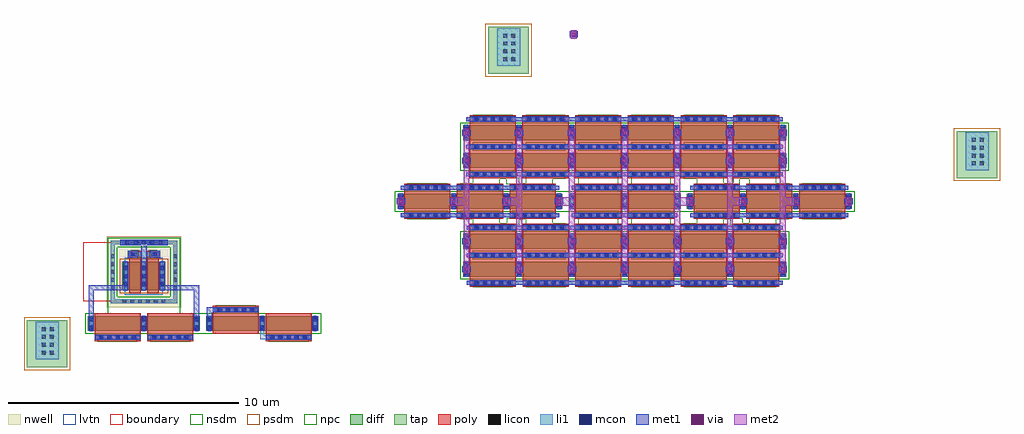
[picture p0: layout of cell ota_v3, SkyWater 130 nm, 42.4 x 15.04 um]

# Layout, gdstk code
import gdstk
lib = gdstk.Library(unit=1e-6, precision=1e-09)
def R(c, l, rs):  # rectangles x0, y0, x1, y1
    for r in rs: c.add(gdstk.rectangle(r[:2], r[2:], *l))
def A(c, l, x, y, w, h, nx, ny, dx, dy):  # array of equal rectangles
    R(c, l, [(x+i*dx, y+j*dy, x+i*dx+w, y+j*dy+h) for i in range(nx) for j in range(ny)])
nwell = (64, 20)
diff = (65, 20)
tap = (65, 44)
poly = (66, 20)
licon = (66, 44)
li1 = (67, 20)
mcon = (67, 44)
met1 = (68, 20)
via = (68, 44)
met2 = (69, 20)
nsdm = (93, 44)
psdm = (94, 20)
npc = (95, 20)
lvtn = (125, 44)
boundary = (235, 4)

sky130_fd_pr__nfet_01v8_ = lib.new_cell('sky130_fd_pr__nfet_01v8_6S36KN')
R(sky130_fd_pr__nfet_01v8_, diff, [(-3.58,-0.325,3.58,0.325)])
A(sky130_fd_pr__nfet_01v8_, poly, -3.29, -0.765, 2, 1.53, 3, 1, 2.29, 0)
A(sky130_fd_pr__nfet_01v8_, licon, -3.055, -0.685, 0.17, 0.17, 5, 2, 0.34, 1.2)
A(sky130_fd_pr__nfet_01v8_, licon, -0.765, -0.685, 0.17, 0.17, 5, 2, 0.34, 1.2)
A(sky130_fd_pr__nfet_01v8_, licon, 1.525, -0.685, 0.17, 0.17, 5, 2, 0.34, 1.2)
A(sky130_fd_pr__nfet_01v8_, licon, -3.52, -0.255, 0.17, 0.17, 4, 2, 2.29, 0.34)
A(sky130_fd_pr__nfet_01v8_, li1, -3.52, -0.345, 0.17, 0.69, 4, 1, 2.29, 0)
R(sky130_fd_pr__nfet_01v8_, li1, [(-3.435,-0.685,3.435,-0.515), (-3.435,0.515,3.435,0.685)])
A(sky130_fd_pr__nfet_01v8_, mcon, -3.095, -0.685, 0.17, 0.17, 5, 2, 0.36, 1.2)
A(sky130_fd_pr__nfet_01v8_, mcon, -0.805, -0.685, 0.17, 0.17, 5, 2, 0.36, 1.2)
A(sky130_fd_pr__nfet_01v8_, mcon, 1.485, -0.685, 0.17, 0.17, 5, 2, 0.36, 1.2)
A(sky130_fd_pr__nfet_01v8_, mcon, -3.52, -0.265, 0.17, 0.17, 4, 2, 2.29, 0.36)
A(sky130_fd_pr__nfet_01v8_, met1, -3.27, -0.715, 1.96, 0.03, 3, 2, 2.29, 0.2)
A(sky130_fd_pr__nfet_01v8_, met1, -3.55, -0.325, 0.23, 0.65, 4, 1, 2.29, 0)
A(sky130_fd_pr__nfet_01v8_, met1, -3.27, 0.485, 1.96, 0.03, 3, 2, 2.29, 0.2)
R(sky130_fd_pr__nfet_01v8_, met1, [(-3.435,-0.685,3.435,-0.515), (-3.435,0.515,3.435,0.685)])
R(sky130_fd_pr__nfet_01v8_, nsdm, [(-3.705,-0.45,3.705,0.45)])
A(sky130_fd_pr__nfet_01v8_, npc, -3.155, -0.785, 1.73, 0.37, 3, 2, 2.29, 1.2)
sky130_fd_pr__nfet_01v8_.add(gdstk.Label('G', (2.29,0.6), layer=67, texttype=5))
sky130_fd_pr__nfet_01v8_.add(gdstk.Label('G', (0,0.6), layer=67, texttype=5))
sky130_fd_pr__nfet_01v8_.add(gdstk.Label('G', (-2.29,0.6), layer=67, texttype=5))
sky130_fd_pr__nfet_01v8_.add(gdstk.Label('D0', (-3.435,0), layer=67, texttype=5))
sky130_fd_pr__nfet_01v8_.add(gdstk.Label('S1', (-1.145,0), layer=67, texttype=5))
sky130_fd_pr__nfet_01v8_.add(gdstk.Label('D2', (1.145,0), layer=67, texttype=5))
sky130_fd_pr__nfet_01v8_.add(gdstk.Label('S2', (3.435,0), layer=67, texttype=5))

c_sky130_fd_pr__nfet_01v8_ = lib.new_cell('sky130_fd_pr__nfet_01v8_LPGTGV')
R(c_sky130_fd_pr__nfet_01v8_, diff, [(-7.015,-0.925,7.015,-0.275), (-7.015,0.275,7.015,0.925)])
A(c_sky130_fd_pr__nfet_01v8_, poly, -6.725, -1.365, 2, 2.73, 6, 1, 2.29, 0)
A(c_sky130_fd_pr__nfet_01v8_, licon, -6.49, -1.285, 0.17, 0.17, 5, 3, 0.34, 1.2)
A(c_sky130_fd_pr__nfet_01v8_, licon, -4.2, -1.285, 0.17, 0.17, 5, 3, 0.34, 1.2)
A(c_sky130_fd_pr__nfet_01v8_, licon, -1.91, -1.285, 0.17, 0.17, 5, 3, 0.34, 1.2)
A(c_sky130_fd_pr__nfet_01v8_, licon, 0.38, -1.285, 0.17, 0.17, 5, 3, 0.34, 1.2)
A(c_sky130_fd_pr__nfet_01v8_, licon, 2.67, -1.285, 0.17, 0.17, 5, 3, 0.34, 1.2)
A(c_sky130_fd_pr__nfet_01v8_, licon, 4.96, -1.285, 0.17, 0.17, 5, 3, 0.34, 1.2)
A(c_sky130_fd_pr__nfet_01v8_, licon, -6.955, -0.855, 0.17, 0.17, 7, 2, 2.29, 0.34)
A(c_sky130_fd_pr__nfet_01v8_, licon, -6.955, 0.345, 0.17, 0.17, 7, 2, 2.29, 0.34)
A(c_sky130_fd_pr__nfet_01v8_, li1, -6.87, -1.285, 13.74, 0.17, 1, 3, 0, 1.2)
A(c_sky130_fd_pr__nfet_01v8_, li1, -6.955, -0.945, 0.17, 0.69, 7, 2, 2.29, 1.2)
A(c_sky130_fd_pr__nfet_01v8_, mcon, -6.53, -1.285, 0.17, 0.17, 5, 3, 0.36, 1.2)
A(c_sky130_fd_pr__nfet_01v8_, mcon, -4.24, -1.285, 0.17, 0.17, 5, 3, 0.36, 1.2)
A(c_sky130_fd_pr__nfet_01v8_, mcon, -1.95, -1.285, 0.17, 0.17, 5, 3, 0.36, 1.2)
A(c_sky130_fd_pr__nfet_01v8_, mcon, 0.34, -1.285, 0.17, 0.17, 5, 3, 0.36, 1.2)
A(c_sky130_fd_pr__nfet_01v8_, mcon, 2.63, -1.285, 0.17, 0.17, 5, 3, 0.36, 1.2)
A(c_sky130_fd_pr__nfet_01v8_, mcon, 4.92, -1.285, 0.17, 0.17, 5, 3, 0.36, 1.2)
A(c_sky130_fd_pr__nfet_01v8_, mcon, -6.955, -0.865, 0.17, 0.17, 7, 2, 2.29, 0.36)
A(c_sky130_fd_pr__nfet_01v8_, mcon, -6.955, 0.335, 0.17, 0.17, 7, 2, 2.29, 0.36)
A(c_sky130_fd_pr__nfet_01v8_, met1, -6.705, -1.315, 1.96, 0.03, 6, 2, 2.29, 0.2)
A(c_sky130_fd_pr__nfet_01v8_, met1, -6.87, -1.285, 13.74, 0.17, 1, 3, 0, 1.2)
A(c_sky130_fd_pr__nfet_01v8_, met1, -6.985, -0.925, 0.23, 0.65, 7, 2, 2.29, 1.2)
A(c_sky130_fd_pr__nfet_01v8_, met1, -6.705, -0.115, 1.96, 0.03, 6, 2, 2.29, 0.2)
A(c_sky130_fd_pr__nfet_01v8_, met1, -6.705, 1.085, 1.96, 0.03, 6, 2, 2.29, 0.2)
R(c_sky130_fd_pr__nfet_01v8_, nsdm, [(-7.14,-1.05,7.14,1.05)])
A(c_sky130_fd_pr__nfet_01v8_, npc, -6.59, -1.385, 1.73, 0.37, 6, 3, 2.29, 1.2)
c_sky130_fd_pr__nfet_01v8_.add(gdstk.Label('G', (5.725,0), layer=67, texttype=5))
c_sky130_fd_pr__nfet_01v8_.add(gdstk.Label('G', (3.435,0), layer=67, texttype=5))
c_sky130_fd_pr__nfet_01v8_.add(gdstk.Label('G', (1.145,0), layer=67, texttype=5))
c_sky130_fd_pr__nfet_01v8_.add(gdstk.Label('G', (-1.145,0), layer=67, texttype=5))
c_sky130_fd_pr__nfet_01v8_.add(gdstk.Label('G', (-3.435,0), layer=67, texttype=5))
c_sky130_fd_pr__nfet_01v8_.add(gdstk.Label('G', (-5.725,0), layer=67, texttype=5))
c_sky130_fd_pr__nfet_01v8_.add(gdstk.Label('D0_0', (-6.87,-0.6), layer=67, texttype=5))
c_sky130_fd_pr__nfet_01v8_.add(gdstk.Label('D0_1', (-6.87,0.6), layer=67, texttype=5))
c_sky130_fd_pr__nfet_01v8_.add(gdstk.Label('S1_0', (-4.58,-0.6), layer=67, texttype=5))
c_sky130_fd_pr__nfet_01v8_.add(gdstk.Label('S1_1', (-4.58,0.6), layer=67, texttype=5))
c_sky130_fd_pr__nfet_01v8_.add(gdstk.Label('D2_0', (-2.29,-0.6), layer=67, texttype=5))
c_sky130_fd_pr__nfet_01v8_.add(gdstk.Label('D2_1', (-2.29,0.6), layer=67, texttype=5))
c_sky130_fd_pr__nfet_01v8_.add(gdstk.Label('S3_0', (0,-0.6), layer=67, texttype=5))
c_sky130_fd_pr__nfet_01v8_.add(gdstk.Label('S3_1', (0,0.6), layer=67, texttype=5))
c_sky130_fd_pr__nfet_01v8_.add(gdstk.Label('D4_0', (2.29,-0.6), layer=67, texttype=5))
c_sky130_fd_pr__nfet_01v8_.add(gdstk.Label('D4_1', (2.29,0.6), layer=67, texttype=5))
c_sky130_fd_pr__nfet_01v8_.add(gdstk.Label('S5_0', (4.58,-0.6), layer=67, texttype=5))
c_sky130_fd_pr__nfet_01v8_.add(gdstk.Label('S5_1', (4.58,0.6), layer=67, texttype=5))

c_sky130_fd_pr__nfet_01v8__ = lib.new_cell('sky130_fd_pr__nfet_01v8_HBWYJE')
R(c_sky130_fd_pr__nfet_01v8__, diff, [(-2.435,-0.325,2.435,0.325)])
R(c_sky130_fd_pr__nfet_01v8__, poly, [(-2.145,-0.765,-0.145,0.765), (0.145,-0.765,2.145,0.765)])
A(c_sky130_fd_pr__nfet_01v8__, licon, -1.91, -0.685, 0.17, 0.17, 5, 2, 0.34, 1.2)
A(c_sky130_fd_pr__nfet_01v8__, licon, 0.38, -0.685, 0.17, 0.17, 5, 2, 0.34, 1.2)
A(c_sky130_fd_pr__nfet_01v8__, licon, -2.375, -0.255, 0.17, 0.17, 3, 2, 2.29, 0.34)
A(c_sky130_fd_pr__nfet_01v8__, li1, -2.375, -0.345, 0.17, 0.69, 3, 1, 2.29, 0)
R(c_sky130_fd_pr__nfet_01v8__, li1, [(-2.29,-0.685,2.29,-0.515), (-2.29,0.515,2.29,0.685)])
A(c_sky130_fd_pr__nfet_01v8__, mcon, -1.95, -0.685, 0.17, 0.17, 5, 2, 0.36, 1.2)
A(c_sky130_fd_pr__nfet_01v8__, mcon, 0.34, -0.685, 0.17, 0.17, 5, 2, 0.36, 1.2)
A(c_sky130_fd_pr__nfet_01v8__, mcon, -2.375, -0.265, 0.17, 0.17, 3, 2, 2.29, 0.36)
A(c_sky130_fd_pr__nfet_01v8__, met1, -2.405, -0.325, 0.23, 0.65, 3, 1, 2.29, 0)
R(c_sky130_fd_pr__nfet_01v8__, met1, [(-2.125,-0.715,-0.165,-0.685), (0.165,-0.715,2.125,-0.685), (-2.29,-0.685,2.29,-0.515), (-2.125,-0.515,-0.165,-0.485), (0.165,-0.515,2.125,-0.485), (-2.125,0.485,-0.165,0.515), (0.165,0.485,2.125,0.515), (-2.29,0.515,2.29,0.685), (-2.125,0.685,-0.165,0.715), (0.165,0.685,2.125,0.715)])
R(c_sky130_fd_pr__nfet_01v8__, nsdm, [(-2.56,-0.45,2.56,0.45)])
R(c_sky130_fd_pr__nfet_01v8__, npc, [(-2.01,-0.785,-0.28,-0.415), (0.28,-0.785,2.01,-0.415), (-2.01,0.415,-0.28,0.785), (0.28,0.415,2.01,0.785)])
c_sky130_fd_pr__nfet_01v8__.add(gdstk.Label('D0', (-2.29,0), layer=67, texttype=5))
c_sky130_fd_pr__nfet_01v8__.add(gdstk.Label('G', (1.145,0.6), layer=67, texttype=5))
c_sky130_fd_pr__nfet_01v8__.add(gdstk.Label('G', (-1.145,0.6), layer=67, texttype=5))
c_sky130_fd_pr__nfet_01v8__.add(gdstk.Label('S1', (0,0), layer=67, texttype=5))

c_sky130_fd_pr__nfet_01v8___ = lib.new_cell('sky130_fd_pr__nfet_01v8_PJC3NT')
R(c_sky130_fd_pr__nfet_01v8___, diff, [(-2.435,-0.48,2.435,0.17)])
R(c_sky130_fd_pr__nfet_01v8___, poly, [(0.145,-0.92,2.145,0.3), (-2.145,-0.61,-0.145,0.61)])
A(c_sky130_fd_pr__nfet_01v8___, licon, 0.38, -0.84, 0.17, 0.17, 5, 1, 0.34, 0)
A(c_sky130_fd_pr__nfet_01v8___, licon, -2.375, -0.41, 0.17, 0.17, 3, 2, 2.29, 0.34)
A(c_sky130_fd_pr__nfet_01v8___, licon, -1.91, 0.36, 0.17, 0.17, 5, 1, 0.34, 0)
R(c_sky130_fd_pr__nfet_01v8___, li1, [(-0.085,-0.84,2.145,-0.67), (-0.085,-0.67,0.085,0.19), (-2.375,-0.5,-2.205,0.19), (2.205,-0.5,2.375,0.19), (-2.145,0.36,-0.145,0.53)])
A(c_sky130_fd_pr__nfet_01v8___, mcon, 0.34, -0.84, 0.17, 0.17, 5, 1, 0.36, 0)
A(c_sky130_fd_pr__nfet_01v8___, mcon, -2.375, -0.42, 0.17, 0.17, 3, 2, 2.29, 0.36)
A(c_sky130_fd_pr__nfet_01v8___, mcon, -1.95, 0.36, 0.17, 0.17, 5, 1, 0.36, 0)
A(c_sky130_fd_pr__nfet_01v8___, met1, -2.405, -0.48, 0.23, 0.65, 3, 1, 2.29, 0)
R(c_sky130_fd_pr__nfet_01v8___, met1, [(0.165,-0.87,2.125,-0.64), (-2.125,0.33,-0.165,0.56)])
R(c_sky130_fd_pr__nfet_01v8___, nsdm, [(-2.56,-0.605,2.56,0.295)])
R(c_sky130_fd_pr__nfet_01v8___, npc, [(0.28,-0.94,2.01,-0.57), (-2.01,0.26,-0.28,0.63)])
c_sky130_fd_pr__nfet_01v8___.add(gdstk.Label('D0', (-2.29,-0.155), layer=67, texttype=5))
c_sky130_fd_pr__nfet_01v8___.add(gdstk.Label('G0', (-1.145,0.445), layer=67, texttype=5))
c_sky130_fd_pr__nfet_01v8___.add(gdstk.Label('S1', (0,-0.155), layer=67, texttype=5))
c_sky130_fd_pr__nfet_01v8___.add(gdstk.Label('G1', (1.145,-0.755), layer=67, texttype=5))

sky130_fd_pr__pfet_01v8_ = lib.new_cell('sky130_fd_pr__pfet_01v8_lvt_HZYT8B')
R(sky130_fd_pr__pfet_01v8_, nwell, [(-1.625,-1.545,1.625,1.545)])
R(sky130_fd_pr__pfet_01v8_, diff, [(-0.935,-0.805,0.935,0.445)])
R(sky130_fd_pr__pfet_01v8_, tap, [(-1.445,-1.365,1.445,-1.195), (-1.445,-1.195,-1.275,1.195), (1.275,-1.195,1.445,1.195), (-1.445,1.195,1.445,1.365)])
R(sky130_fd_pr__pfet_01v8_, poly, [(-0.645,-0.935,-0.145,0.93), (0.145,-0.935,0.645,0.93)])
A(sky130_fd_pr__pfet_01v8_, licon, -0.935, -1.365, 0.17, 0.17, 6, 2, 0.34, 2.56)
A(sky130_fd_pr__pfet_01v8_, licon, -1.445, -0.765, 0.17, 0.17, 1, 5, 0, 0.34)
A(sky130_fd_pr__pfet_01v8_, licon, 1.275, -0.765, 0.17, 0.17, 1, 5, 0, 0.34)
A(sky130_fd_pr__pfet_01v8_, licon, -0.875, -0.605, 0.17, 0.17, 3, 3, 0.79, 0.34)
R(sky130_fd_pr__pfet_01v8_, licon, [(-0.48,0.68,-0.31,0.85), (0.31,0.68,0.48,0.85)])
A(sky130_fd_pr__pfet_01v8_, li1, -0.875, -0.825, 0.17, 1.29, 3, 1, 0.79, 0)
R(sky130_fd_pr__pfet_01v8_, li1, [(-1.445,-1.365,1.445,-1.195), (-1.445,-1.195,-1.275,1.195), (1.275,-1.195,1.445,1.195), (-0.675,0.68,-0.145,0.85), (0.145,0.68,0.675,0.85), (-1.445,1.195,1.445,1.365)])
A(sky130_fd_pr__pfet_01v8_, mcon, -0.875, -0.625, 0.17, 0.17, 3, 3, 0.79, 0.36)
R(sky130_fd_pr__pfet_01v8_, mcon, [(-0.565,0.68,-0.395,0.85), (0.395,0.68,0.565,0.85)])
A(sky130_fd_pr__pfet_01v8_, met1, -0.905, -0.805, 0.23, 1.25, 3, 1, 0.79, 0)
R(sky130_fd_pr__pfet_01v8_, met1, [(-0.705,0.62,-0.255,0.91), (0.255,0.62,0.705,0.91)])
R(sky130_fd_pr__pfet_01v8_, nsdm, [(-1.57,-1.49,1.57,-1.07), (-1.57,-1.07,-1.15,1.07), (1.15,-1.07,1.57,1.07), (-1.57,1.07,1.57,1.49)])
R(sky130_fd_pr__pfet_01v8_, psdm, [(-1.06,-0.93,1.06,0.57)])
R(sky130_fd_pr__pfet_01v8_, npc, [(-0.58,0.58,-0.21,0.95), (0.21,0.58,0.58,0.95)])
R(sky130_fd_pr__pfet_01v8_, lvtn, [(-0.825,-0.985,0.825,0.625)])
R(sky130_fd_pr__pfet_01v8_, boundary, [(-2.64,-1.28,1.36,1.28)])
sky130_fd_pr__pfet_01v8_.add(gdstk.Label('D1', (0.79,-0.18), layer=68, texttype=5))
sky130_fd_pr__pfet_01v8_.add(gdstk.Label('B', (0,-1.28), layer=67, texttype=5))
sky130_fd_pr__pfet_01v8_.add(gdstk.Label('D0', (-0.79,-0.18), layer=67, texttype=5))
sky130_fd_pr__pfet_01v8_.add(gdstk.Label('G0', (-0.395,0.765), layer=67, texttype=5))
sky130_fd_pr__pfet_01v8_.add(gdstk.Label('S1', (0,-0.18), layer=67, texttype=5))
sky130_fd_pr__pfet_01v8_.add(gdstk.Label('G1', (0.395,0.765), layer=67, texttype=5))

c_sky130_fd_pr__nfet_01v8____ = lib.new_cell('sky130_fd_pr__nfet_01v8_BTD3CR')
R(c_sky130_fd_pr__nfet_01v8____, diff, [(-2.435,-0.17,2.435,0.48)])
R(c_sky130_fd_pr__nfet_01v8____, poly, [(-2.145,-0.61,-0.145,0.61), (0.145,-0.61,2.145,0.61)])
A(c_sky130_fd_pr__nfet_01v8____, licon, -1.91, -0.53, 0.17, 0.17, 5, 1, 0.34, 0)
A(c_sky130_fd_pr__nfet_01v8____, licon, 0.38, -0.53, 0.17, 0.17, 5, 1, 0.34, 0)
A(c_sky130_fd_pr__nfet_01v8____, licon, -2.375, -0.1, 0.17, 0.17, 3, 2, 2.29, 0.34)
A(c_sky130_fd_pr__nfet_01v8____, li1, -2.375, -0.19, 0.17, 0.69, 3, 1, 2.29, 0)
R(c_sky130_fd_pr__nfet_01v8____, li1, [(-2.145,-0.53,-0.145,-0.36), (0.145,-0.53,2.145,-0.36)])
A(c_sky130_fd_pr__nfet_01v8____, mcon, -1.95, -0.53, 0.17, 0.17, 5, 1, 0.36, 0)
A(c_sky130_fd_pr__nfet_01v8____, mcon, 0.34, -0.53, 0.17, 0.17, 5, 1, 0.36, 0)
A(c_sky130_fd_pr__nfet_01v8____, mcon, -2.375, -0.11, 0.17, 0.17, 3, 2, 2.29, 0.36)
A(c_sky130_fd_pr__nfet_01v8____, met1, -2.405, -0.17, 0.23, 0.65, 3, 1, 2.29, 0)
R(c_sky130_fd_pr__nfet_01v8____, met1, [(-2.125,-0.56,-0.165,-0.33), (0.165,-0.56,2.125,-0.33)])
R(c_sky130_fd_pr__nfet_01v8____, nsdm, [(-2.56,-0.295,2.56,0.605)])
R(c_sky130_fd_pr__nfet_01v8____, npc, [(-2.01,-0.63,-0.28,-0.26), (0.28,-0.63,2.01,-0.26)])
c_sky130_fd_pr__nfet_01v8____.add(gdstk.Label('D0', (-2.29,0.155), layer=67, texttype=5))
c_sky130_fd_pr__nfet_01v8____.add(gdstk.Label('G0', (-1.145,-0.445), layer=67, texttype=5))
c_sky130_fd_pr__nfet_01v8____.add(gdstk.Label('S1', (0,0.155), layer=67, texttype=5))
c_sky130_fd_pr__nfet_01v8____.add(gdstk.Label('G1', (1.145,-0.445), layer=67, texttype=5))

ota_v3 = lib.new_cell('ota_v3')
R(ota_v3, tap, [(-19.72,-6.925,-17.965,-4.885), (20.675,1.295,22.43,3.335), (0.325,5.825,2.08,7.865)])
A(ota_v3, licon, -19.065, -6.375, 0.17, 0.17, 1, 4, 0, 0.34)
A(ota_v3, licon, -18.725, -6.375, 0.17, 0.17, 1, 4, 0, 0.34)
A(ota_v3, licon, 21.33, 1.845, 0.17, 0.17, 1, 4, 0, 0.34)
A(ota_v3, licon, 21.67, 1.845, 0.17, 0.17, 1, 4, 0, 0.34)
A(ota_v3, licon, 0.98, 6.375, 0.17, 0.17, 1, 4, 0, 0.34)
A(ota_v3, licon, 1.32, 6.375, 0.17, 0.17, 1, 4, 0, 0.34)
R(ota_v3, li1, [(-19.335,-6.58,-18.335,-4.945), (-15.6,-1.59,-13.67,-1.42), (21.06,1.64,22.06,3.275), (0.71,6.17,1.71,7.805)])
A(ota_v3, mcon, -15.44, -1.59, 0.17, 0.17, 5, 1, 0.36, 0)
A(ota_v3, met1, -0.8, -2.79, 0.36, 0.26, 7, 2, 2.29, 1.2)
A(ota_v3, met1, 8.92, 0.15, 0.36, 0.26, 4, 1, 2.29, 0)
A(ota_v3, met1, -0.805, 1.925, 0.36, 0.26, 7, 1, 2.29, 0)
A(ota_v3, met1, 3.775, 3.125, 0.36, 0.26, 5, 1, 2.29, 0)
R(ota_v3, met1, [(-17.04,-5.35,-16.81,-5.29), (-17.04,-5.29,-17.01,-4.76), (-16.84,-5.29,-16.81,-4.76), (-17.04,-4.76,-16.81,-3.59), (-12.46,-4.7,-12.23,-3.59), (-11.9,-4.7,-11.67,-4.54), (-11.9,-4.54,-11.62,-4.31), (-17.04,-3.59,-15.31,-3.53), (-13.73,-3.59,-12.23,-3.36), (-17.04,-3.53,-15.51,-3.36), (-15.34,-3.53,-15.31,-2.4), (-15.54,-3.36,-15.51,-2.4), (-15.54,-2.4,-15.31,-2.34), (-14.75,-2.34,-14.52,-1.62), (-15.66,-1.62,-13.61,-1.39), (-3.65,0.15,-3.29,0.41), (-1.355,0.15,-0.995,0.41), (0.93,0.15,1.29,0.41), (3.22,0.15,3.58,0.41), (-0.805,3.125,-0.445,3.385), (1.485,3.13,1.845,3.39), (3.86,7.4,4.22,7.66)])
A(ota_v3, via, -0.695, -2.735, 0.15, 0.15, 7, 2, 2.29, 1.2)
A(ota_v3, via, 9.025, 0.205, 0.15, 0.15, 4, 1, 2.29, 0)
A(ota_v3, via, -0.7, 1.98, 0.15, 0.15, 7, 1, 2.29, 0)
A(ota_v3, via, 3.88, 3.18, 0.15, 0.15, 5, 1, 2.29, 0)
R(ota_v3, via, [(-3.545,0.205,-3.395,0.355), (-1.25,0.205,-1.1,0.355), (1.035,0.205,1.185,0.355), (3.325,0.205,3.475,0.355), (-0.7,3.18,-0.55,3.33), (1.59,3.185,1.74,3.335), (3.965,7.455,4.115,7.605)])
A(ota_v3, met2, -0.75, -2.84, 0.26, 0.36, 7, 2, 2.29, 1.2)
A(ota_v3, met2, -0.75, -2.48, 0.255, 0.84, 7, 1, 2.29, 0)
A(ota_v3, met2, -0.75, -1.28, 0.255, 1.38, 3, 1, 2.29, 0)
A(ota_v3, met2, 8.41, -1.28, 0.255, 1.38, 3, 1, 2.29, 0)
A(ota_v3, met2, 8.41, 0.1, 0.82, 0.36, 3, 1, 2.29, 0)
A(ota_v3, met2, -0.75, 0.46, 0.255, 1.415, 3, 1, 2.29, 0)
A(ota_v3, met2, 8.41, 0.46, 0.255, 1.415, 3, 1, 2.29, 0)
A(ota_v3, met2, -0.755, 1.875, 0.26, 0.36, 7, 1, 2.29, 0)
A(ota_v3, met2, 3.83, 2.235, 0.255, 0.84, 5, 1, 2.29, 0)
A(ota_v3, met2, 3.825, 3.075, 0.26, 0.36, 5, 1, 2.29, 0)
R(ota_v3, met2, [(6.12,-1.28,6.375,1.875), (-3.6,0.1,-3.34,0.46), (-1.305,0.1,-0.495,0.46), (0.98,0.1,1.795,0.46), (3.27,0.1,4.085,0.46), (15.84,0.1,16.1,0.46), (-0.75,2.235,-0.495,3.075), (1.54,2.235,1.795,3.08), (-0.755,3.075,-0.495,3.435), (1.535,3.08,1.795,3.44), (3.91,7.35,4.17,7.71)])
R(ota_v3, nsdm, [(-12.075,-5.475,-12.055,-4.575), (-16.205,-4.575,-13.065,-4.275), (3.67,-0.17,3.69,0.73), (8.81,-0.17,8.83,0.73)])
R(ota_v3, psdm, [(-19.845,-7.05,-17.84,-4.76), (20.55,1.17,22.555,3.46), (0.2,5.7,2.205,7.99)])
R(ota_v3, npc, [(1.39,-0.725,1.66,-0.675), (10.84,-0.725,11.11,-0.675), (-0.34,-0.675,0.83,-0.505), (1.12,-0.675,1.66,-0.505), (1.95,-0.675,3.12,-0.505), (4.24,-0.675,5.97,-0.505), (6.53,-0.675,8.26,-0.505), (9.38,-0.675,10.55,-0.505), (10.84,-0.675,11.38,-0.505), (11.67,-0.675,12.84,-0.505), (1.12,-0.505,1.39,-0.455), (11.11,-0.505,11.38,-0.455), (11.11,0.83,11.245,1.065), (1.115,1.03,1.39,1.065), (-0.345,1.065,0.83,1.27), (1.115,1.065,1.66,1.27), (1.945,1.065,3.12,1.27), (4.24,1.065,5.965,1.27), (6.53,1.065,8.255,1.27), (9.38,1.065,10.545,1.27), (10.97,1.065,11.245,1.27), (11.67,1.065,12.835,1.27), (1.385,1.27,1.66,1.305), (10.97,1.27,11.105,1.505)])
ota_v3.add(gdstk.Reference(sky130_fd_pr__nfet_01v8_, (12.535,0.28)))
ota_v3.add(gdstk.Reference(c_sky130_fd_pr__nfet_01v8_, (6.25,-2.06)))
ota_v3.add(gdstk.Reference(sky130_fd_pr__nfet_01v8_, (-0.035,0.28)))
ota_v3.add(gdstk.Reference(c_sky130_fd_pr__nfet_01v8__, (6.25,0.28)))
ota_v3.add(gdstk.Reference(c_sky130_fd_pr__nfet_01v8___, (-9.495,-4.87)))
ota_v3.add(gdstk.Reference(sky130_fd_pr__pfet_01v8_, (-14.635,-2.785)))
ota_v3.add(gdstk.Reference(c_sky130_fd_pr__nfet_01v8____, (-14.635,-5.18)))
ota_v3.add(gdstk.Reference(c_sky130_fd_pr__nfet_01v8_, (6.245,2.655)))

lib.write_gds('ota_v3.gds')
